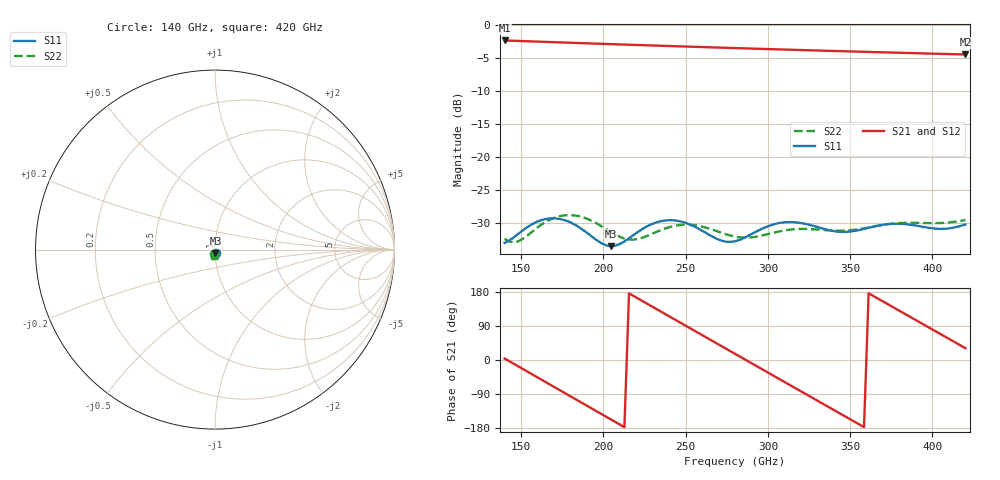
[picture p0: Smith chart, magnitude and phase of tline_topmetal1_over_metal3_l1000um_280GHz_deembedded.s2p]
! Created with skrf 2.2.0 (http://scikit-rf.org).
# GHz S DB R 50.0
! Port[1] = P1
! Port[2] = P2
!freq dBS11 angS11 dBS21 angS21 dBS12 angS12 dBS22 angS22
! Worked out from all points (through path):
!   101 points, 140 GHz to 420 GHz, reference 50 ohm
!   highest |S21| = -2.36 dB at 140 GHz (marker M1); lowest = -4.5 dB at 420 GHz (marker M2)
!   group delay of S21, straight-line fit = 6.87 ps
!   lowest |S11| = -33.6 dB at 204.4 GHz (marker M3), VSWR 1.04, Z = 50.2 - j2.09 ohm
!   |S11| at or under -10 dB: start of sweep to end of sweep
!   |S22| runs from -33.0 to -28.8 dB; largest |S21 - S12| = 1.1e-13
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140  -33.07 -69.4  -2.36 4.0  -2.36 4.0  -32.46 -99.6
151.2  -31.14 -62.5  -2.46 -24.0  -2.46 -24.0  -32.43 -81.6
165.2  -29.44 -73.0  -2.58 -58.9  -2.58 -58.9  -29.85 -80.4
176.4  -29.61 -85.1  -2.68 -86.8  -2.68 -86.8  -28.89 -90.6
187.6  -31.08 -93.2  -2.78 -114.6  -2.78 -114.6  -29.18 -102.0
204.4  -33.56 -82.4  -2.92 -156.4  -2.92 -156.4  -31.39 -109.3
218.4  -31.87 -70.1  -3.03 168.9  -3.03 168.9  -32.57 -99.4
235.2  -29.76 -79.3  -3.17 127.2  -3.17 127.2  -31.10 -93.2
246.4  -29.78 -89.6  -3.26 99.5  -3.26 99.5  -30.36 -98.2
257.6  -30.87 -96.7  -3.35 71.8  -3.35 71.8  -30.48 -104.5
268.8  -32.43 -94.9  -3.43 44.0  -3.43 44.0  -31.27 -107.8
280  -32.82 -84.3  -3.52 16.4  -3.52 16.4  -32.12 -105.3
299.6  -30.58 -80.0  -3.67 -32.1  -3.67 -32.1  -31.75 -96.8
313.6  -29.91 -88.1  -3.77 -66.6  -3.77 -66.6  -31.06 -97.5
327.6  -30.48 -94.5  -3.87 -101.2  -3.87 -101.2  -31.00 -99.9
338.8  -31.22 -93.9  -3.95 -128.8  -3.95 -128.8  -31.20 -99.4
352.8  -31.25 -88.5  -4.05 -163.3  -4.05 -163.3  -31.07 -96.2
364  -30.61 -87.3  -4.12 169.1  -4.12 169.1  -30.59 -94.9
375.2  -30.18 -90.0  -4.20 141.5  -4.20 141.5  -30.16 -95.8
386.4  -30.31 -93.1  -4.27 113.9  -4.27 113.9  -30.02 -97.4
397.6  -30.77 -93.0  -4.35 86.3  -4.35 86.3  -30.07 -97.7
420  -30.27 -85.5  -4.49 31.2  -4.49 31.2  -29.60 -94.8
